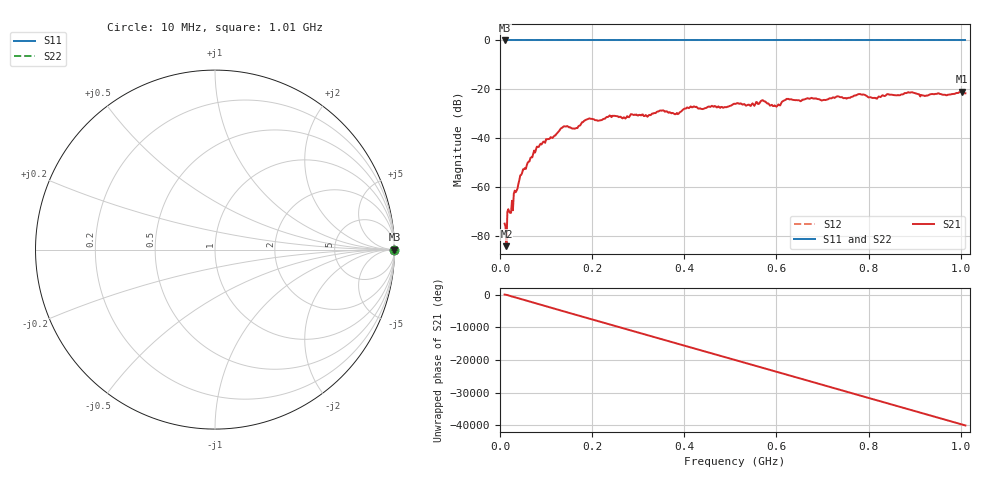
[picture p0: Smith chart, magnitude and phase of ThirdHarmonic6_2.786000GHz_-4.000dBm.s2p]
! 8/17/2025 7:10:23 AM
! C:\ANRITSUVNA\TEMP\TEMP.S2P
! CHANNEL.1
! TR.MEASUREMENT
! RAW.DATA
! RF.CORRECTION.OFF
! AVERAGING.OFF
! IF.BANDWIDTH: 5KHZ
! SWEEPTYPE:  FREQ.SWEEP(Linear)
! Reference Plane Port Info
! PORT:  PORT1  PORT2
! DISTANCE:  0  m  0  m
! TIME:  0  s  0  s
! PHASE.OFFSET:  0  deg.  0  deg.
! LOSS:  0  dB  0  dB
! REF.LOSS:  0  dB  0  dB
! REF.FREQ:  0  Hz  0  Hz
! Power Info
! POWER:  -20  dBm  -20  dBm
! EFF.POWER:  -20  dBm  -20  dBm
! SOURCE.ATTEN:  0  dB  0  dB
! TEST.ATTEN:  0  dB  0  dB
# GHZ S RI R 50.0
! FREQ.GHZ  S11RE  S11IM  S21RE  S21IM  S12RE  S12IM  S22RE  S22IM
!; PortSelection: Port_12
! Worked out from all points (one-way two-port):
!   501 points, 10 MHz to 1.01 GHz, reference 50 ohm
!   highest |S21| = -20.92 dB at 1.002 GHz (marker M1); lowest = -84.0 dB at 14 MHz (marker M2)
!   lowest |S11| = 0.0 dB at 10 MHz (marker M3)
!   |S11| at or under -10 dB: nowhere
!   |S22| runs from 0.0 to 0.0 dB; largest |S21 - S12| = 1.1
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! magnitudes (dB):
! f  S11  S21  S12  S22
! 10 MHz  0.0  -74.8  0.0  0.0
! 14 MHz  0.0  -84.0  0.0  0.0
! 46 MHz  0.0  -54.9  0.0  0.0
! 78 MHz  0.0  -44.6  0.0  0.0
! 136 MHz  0.0  -35.5  0.0  0.0
! 164 MHz  0.0  -35.9  0.0  0.0
! 178 MHz  0.0  -33.4  0.0  0.0
! 192 MHz  0.0  -32.0  0.0  0.0
! 318 MHz  0.0  -30.7  0.0  0.0
! 344 MHz  0.0  -29.0  0.0  0.0
! 384 MHz  0.0  -29.6  0.0  0.0
! 410 MHz  0.0  -27.6  0.0  0.0
! 510 MHz  0.0  -25.9  0.0  0.0
! 570 MHz  0.0  -24.4  0.0  0.0
! 598 MHz  0.0  -26.8  0.0  0.0
! 622 MHz  0.0  -23.8  0.0  0.0
! 678 MHz  0.0  -23.6  0.0  0.0
! 780 MHz  0.0  -21.9  0.0  0.0
! 814 MHz  0.0  -23.4  0.0  0.0
! 844 MHz  0.0  -22.1  0.0  0.0
! 1.002 GHz  0.0  -20.9  0.0  0.0
! 1.01 GHz  0.0  -21.6  0.0  0.0
